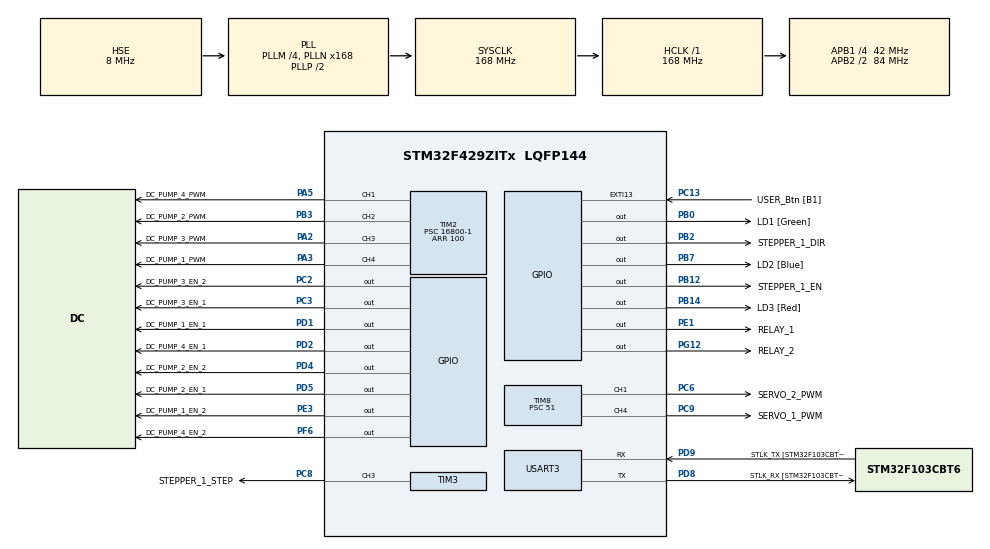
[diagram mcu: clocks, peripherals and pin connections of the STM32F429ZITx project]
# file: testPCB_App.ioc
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Mcu.Family=STM32F4
Mcu.Name=STM32F429ZITx
Mcu.Package=LQFP144
NVIC.PriorityGroup=NVIC_PRIORITYGROUP_4
NVIC.TIM3_IRQn=true\:0\:0\:false\:false\:true\:true\:true
PA13.GPIO_Label=TMS
PA13.Mode=Serial_Wire
PA13.Signal=SYS_JTMS-SWDIO
PA14.GPIO_Label=TCK
PA14.Mode=Serial_Wire
PA14.Signal=SYS_JTCK-SWCLK
PA2.GPIO_Label=DC_PUMP_3_PWM
PA2.Signal=S_TIM2_CH3
PA3.GPIO_Label=DC_PUMP_1_PWM
PA3.Signal=S_TIM2_CH4
PA5.GPIO_Label=DC_PUMP_4_PWM
PA5.Signal=S_TIM2_CH1_ETR
PB0.GPIO_Label=LD1 [Green]
PB0.Signal=GPIO_Output
PB12.GPIO_Label=STEPPER_1_EN
PB12.Signal=GPIO_Output
PB14.GPIO_Label=LD3 [Red]
PB14.Signal=GPIO_Output
PB2/BOOT1.GPIO_Label=STEPPER_1_DIR
PB2/BOOT1.Signal=GPIO_Output
PB3.GPIO_Label=DC_PUMP_2_PWM
PB3.Signal=S_TIM2_CH2
PB7.GPIO_Label=LD2 [Blue]
PB7.Signal=GPIO_Output
PC13.GPIO_Label=USER_Btn [B1]
PC13.Signal=GPXTI13
PC14/OSC32_IN.Mode=LSE-External-Oscillator
PC14/OSC32_IN.Signal=RCC_OSC32_IN
PC15/OSC32_OUT.Mode=LSE-External-Oscillator
PC15/OSC32_OUT.Signal=RCC_OSC32_OUT
PC2.GPIO_Label=DC_PUMP_3_EN_2
PC2.Signal=GPIO_Output
PC3.GPIO_Label=DC_PUMP_3_EN_1
PC3.Signal=GPIO_Output
PC6.GPIO_Label=SERVO_2_PWM
PC6.Signal=S_TIM8_CH1
PC8.GPIO_Label=STEPPER_1_STEP
PC8.Signal=S_TIM3_CH3
PC9.GPIO_Label=SERVO_1_PWM
PC9.Signal=S_TIM8_CH4
PD1.GPIO_Label=DC_PUMP_1_EN_1
PD1.Signal=GPIO_Output
PD2.GPIO_Label=DC_PUMP_4_EN_1
PD2.Signal=GPIO_Output
PD4.GPIO_Label=DC_PUMP_2_EN_2
PD4.Signal=GPIO_Output
PD5.GPIO_Label=DC_PUMP_2_EN_1
PD5.Signal=GPIO_Output
PD8.GPIO_Label=STLK_RX [STM32F103CBT6_PA3]
PD8.Mode=Asynchronous
PD8.Signal=USART3_TX
PD9.GPIO_Label=STLK_TX [STM32F103CBT6_PA2]
PD9.Mode=Asynchronous
PD9.Signal=USART3_RX
PE1.GPIO_Label=RELAY_1
PE1.Signal=GPIO_Output
PE3.GPIO_Label=DC_PUMP_1_EN_2
PE3.Signal=GPIO_Output
PF6.GPIO_Label=DC_PUMP_4_EN_2
PF6.Signal=GPIO_Output
PG12.GPIO_Label=RELAY_2
PG12.Signal=GPIO_Output
PH0/OSC_IN.GPIO_Label=MCO [STM32F103CBT6_PA8]
PH0/OSC_IN.Mode=HSE-External-Clock-Source
PH0/OSC_IN.Signal=RCC_OSC_IN
PH1/OSC_OUT.Mode=HSE-External-Clock-Source
PH1/OSC_OUT.Signal=RCC_OSC_OUT
ProjectManager.HeapSize=0x200
ProjectManager.StackSize=0x400
ProjectManager.TargetToolchain=STM32CubeIDE
RCC.48MHZClocksFreq_Value=48000000
RCC.AHBFreq_Value=168000000
RCC.APB1CLKDivider=RCC_HCLK_DIV4
RCC.APB1Freq_Value=42000000
RCC.APB1TimFreq_Value=84000000
RCC.APB2CLKDivider=RCC_HCLK_DIV2
RCC.APB2Freq_Value=84000000
RCC.APB2TimCLKDivider=2
RCC.APB2TimFreq_Value=168000000
RCC.CortexFreq_Value=168000000
RCC.HCLKFreq_Value=168000000
RCC.HSE_VALUE=8000000
RCC.HSI_VALUE=16000000
RCC.PLLM=4
RCC.PLLMUL=RCC_PLL_MUL9
RCC.PLLN=168
RCC.PLLQ=7
RCC.PLLSourceVirtual=RCC_PLLSOURCE_HSE
RCC.PRESCALERUSB=RCC_USBCLKSOURCE_PLL_DIV1_5
RCC.SYSCLKFreq_VALUE=168000000
RCC.SYSCLKSource=RCC_SYSCLKSOURCE_PLLCLK
RCC.SYSCLKSourceVirtual=RCC_SYSCLKSOURCE_PLLCLK
RCC.USBFreq_Value=48000000
RCC.VCOOutputFreq_Value=336000000
SH.S_TIM2_CH1_ETR.0=TIM2_CH1,PWM Generation1 CH1
SH.S_TIM2_CH2.0=TIM2_CH2,PWM Generation2 CH2
SH.S_TIM2_CH3.0=TIM2_CH3,PWM Generation3 CH3
SH.S_TIM2_CH4.0=TIM2_CH4,PWM Generation4 CH4
SH.S_TIM3_CH3.0=TIM3_CH3,PWM Generation3 CH3
SH.S_TIM8_CH1.0=TIM8_CH1,PWM Generation1 CH1
SH.S_TIM8_CH4.0=TIM8_CH4,PWM Generation4 CH4
TIM2.Channel-PWM\ Generation1\ CH1=TIM_CHANNEL_1
TIM2.Channel-PWM\ Generation2\ CH2=TIM_CHANNEL_2
TIM2.Channel-PWM\ Generation3\ CH3=TIM_CHANNEL_3
TIM2.Channel-PWM\ Generation4\ CH4=TIM_CHANNEL_4
TIM2.Period=100
TIM2.Prescaler=16800-1
TIM3.Channel-PWM\ Generation3\ CH3=TIM_CHANNEL_3
TIM3.Period=255
TIM3.Prescaler=325
TIM3.Pulse-PWM\ Generation3\ CH3=128
TIM8.Channel-PWM\ Generation1\ CH1=TIM_CHANNEL_1
TIM8.Channel-PWM\ Generation4\ CH4=TIM_CHANNEL_4
TIM8.Period=64614
TIM8.Prescaler=51
TIM8.Pulse-PWM\ Generation1\ CH1=32307
TIM8.Pulse-PWM\ Generation4\ CH4=32307
USART3.VirtualMode=VM_ASYNC
VP_TIM2_VS_ClockSourceINT.Mode=Internal
VP_TIM3_VS_ClockSourceINT.Mode=Internal
VP_TIM8_VS_ClockSourceINT.Mode=Internal
board=NUCLEO-F429ZI

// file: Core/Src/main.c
/* USER CODE BEGIN Header */
/**
  ******************************************************************************
  * @file           : main.c
  * @brief          : Main program body
  ******************************************************************************
  * @attention
  *
  * Copyright (c) 2021 STMicroelectronics.
  * All rights reserved.
  *
  * This software is licensed under terms that can be found in the LICENSE file
  * in the root directory of this software component.
  * If no LICENSE file comes with this software, it is provided AS-IS.
  *
  ******************************************************************************
  */
/* USER CODE END Header */
#include "main.h"

TIM_HandleTypeDef htim2;
TIM_HandleTypeDef htim3;
TIM_HandleTypeDef htim8;

UART_HandleTypeDef huart3;

/* USER CODE BEGIN PV */
volatile int step=0,durum=0,sayac=0;

/* USER CODE END PV */

void SystemClock_Config(void);
static void MX_GPIO_Init(void);
static void MX_USART3_UART_Init(void);
static void MX_TIM2_Init(void);
static void MX_TIM8_Init(void);
static void MX_TIM3_Init(void);

/* USER CODE BEGIN 0 */

void HAL_TIM_PWM_PulseFinishedCallback(TIM_HandleTypeDef *htim)
{
	if(htim->Instance == TIM3) // eger kesme kaynagi timer1 den gelmis ise
	{
		sayac++;								// her kesmede sayaci arttir.
		if(sayac == step)				// eger sayac istenilen adim sayisi kadar artmis ise
		{
			HAL_TIM_PWM_Stop_IT(&htim3, TIM_CHANNEL_3);	// PWM'i durdur.
			sayac=0;																// bir sonraki komutta sayac sifirdan baslamali
			durum=0;																// step fonksiyonunun içindeki while döngüsünden çikilmasi için
																							// durum degiskeni sifirlandi.
		}
	}
}

void Step(int adim, int yon)  // step motor fonksiyonu. iki adet parametre alicak. Pals ve yön parametreleri
{
	step=adim;
	if(yon==0)
	{
		HAL_GPIO_WritePin(STEPPER_1_DIR_GPIO_Port, STEPPER_1_DIR_Pin, GPIO_PIN_RESET);	// eger yön bilgisi sifir ise DIR pini lojik 0 yapildi.
	}
	else
	{
		HAL_GPIO_WritePin(STEPPER_1_DIR_GPIO_Port, STEPPER_1_DIR_Pin, GPIO_PIN_SET);	// sifirdan farkli bir deger ise DIR pini lojik 1 yapildi.
	}
	durum=1;
	HAL_TIM_PWM_Start_IT(&htim3, TIM_CHANNEL_3);	// PWM'i baslatildi.
	while(1) // step motorun istenilen konuma gitmesi için belli bir süre gececek
	{						//	bu süre boyunca programin tekrar step fonksiyonunun içine girmesini önlemek için sonsuz döngü olusturuldu.
		if(durum==0)					// step motor istenilen konuma gittiginde durum degiskeni sifir olacak ve döngüden çikilacak.
			break;
		HAL_Delay(1);
	}

}
/* USER CODE END 0 */

int main(void)
{

  /* MCU Configuration--------------------------------------------------------*/

  /* Reset of all peripherals, Initializes the Flash interface and the Systick. */
  HAL_Init();

  /* Configure the system clock */
  SystemClock_Config();

  /* Initialize all configured peripherals */
  MX_GPIO_Init();
  MX_USART3_UART_Init();
  MX_TIM2_Init();
  MX_TIM8_Init();
  MX_TIM3_Init();
  /* USER CODE BEGIN 2 */

  //DC PUMP PWM TIMER
  HAL_TIM_Base_Start(&htim2);
  HAL_TIM_PWM_Start(&htim2, TIM_CHANNEL_1);
  HAL_TIM_PWM_Start(&htim2, TIM_CHANNEL_2);
  HAL_TIM_PWM_Start(&htim2, TIM_CHANNEL_3);
  HAL_TIM_PWM_Start(&htim2, TIM_CHANNEL_4);

  //DC_PUMP_1
  __HAL_TIM_SET_COMPARE(&htim2, TIM_CHANNEL_4, 75);
  HAL_GPIO_WritePin(DC_PUMP_1_EN_1_GPIO_Port, DC_PUMP_1_EN_1_Pin, GPIO_PIN_SET);
  HAL_GPIO_WritePin(DC_PUMP_1_EN_2_GPIO_Port, DC_PUMP_1_EN_2_Pin, GPIO_PIN_RESET);

  //DC_PUMP_2
  __HAL_TIM_SET_COMPARE(&htim2, TIM_CHANNEL_2, 75);
  HAL_GPIO_WritePin(DC_PUMP_2_EN_1_GPIO_Port, DC_PUMP_2_EN_1_Pin, GPIO_PIN_SET);
  HAL_GPIO_WritePin(DC_PUMP_2_EN_2_GPIO_Port, DC_PUMP_2_EN_2_Pin, GPIO_PIN_RESET);

  //DC_PUMP_3
  __HAL_TIM_SET_COMPARE(&htim2, TIM_CHANNEL_3, 75);
  HAL_GPIO_WritePin(DC_PUMP_3_EN_1_GPIO_Port, DC_PUMP_3_EN_1_Pin, GPIO_PIN_SET);
  HAL_GPIO_WritePin(DC_PUMP_3_EN_2_GPIO_Port, DC_PUMP_3_EN_2_Pin, GPIO_PIN_RESET);

  //DC_PUMP_4
  __HAL_TIM_SET_COMPARE(&htim2, TIM_CHANNEL_1, 75);
  HAL_GPIO_WritePin(DC_PUMP_4_EN_1_GPIO_Port, DC_PUMP_4_EN_1_Pin, GPIO_PIN_RESET);
  HAL_GPIO_WritePin(DC_PUMP_4_EN_2_GPIO_Port, DC_PUMP_4_EN_2_Pin, GPIO_PIN_SET);

  //SERVO
  HAL_TIM_Base_Start(&htim8);
  HAL_TIM_PWM_Start(&htim8, TIM_CHANNEL_1);
  HAL_TIM_PWM_Start(&htim8, TIM_CHANNEL_4);

  //STEPER
  HAL_TIM_Base_Start_IT(&htim3);
  HAL_TIM_PWM_Start_IT(&htim3, TIM_CHANNEL_3);
  HAL_GPIO_WritePin(STEPPER_1_EN_GPIO_Port, STEPPER_1_EN_Pin, GPIO_PIN_RESET);
  __HAL_TIM_SET_COMPARE(&htim3, TIM_CHANNEL_3, 128); // Duty cycle %50 olarak ayarlandi.
  HAL_Delay(100);

  /* USER CODE END 2 */

  /* Infinite loop */
  /* USER CODE BEGIN WHILE */
  while (1)
  {

	  //RELAY
	  HAL_GPIO_TogglePin(RELAY_1_GPIO_Port, RELAY_1_Pin); //legalsó feletti
	  HAL_GPIO_TogglePin(RELAY_2_GPIO_Port, RELAY_2_Pin);	//legalsó
	  HAL_Delay(2000);

	  /*
	  //SERVO
	  for (int i = 1430; i < 8061; i+= 10) {
		  HAL_Delay(1);
		  __HAL_TIM_SET_COMPARE(&htim8, TIM_CHANNEL_1, i);0
		  __HAL_TIM_SET_COMPARE(&htim8, TIM_CHANNEL_4, i);

	  }
	  for (int i = 8061; i > 1430; i-= 10) {
		  HAL_Delay(1);
		  __HAL_TIM_SET_COMPARE(&htim8, TIM_CHANNEL_1, i);
		  __HAL_TIM_SET_COMPARE(&htim8, TIM_CHANNEL_4, i);

	  }
	  */

	  	 /*
	  //STEPPER
	  Step(200, 0);
	  HAL_Delay(1000);
	  Step(400, 1);
	  HAL_Delay(1000);
	  */

    /* USER CODE END WHILE */

  }
}

void SystemClock_Config(void)
{
  RCC_OscInitTypeDef RCC_OscInitStruct = {0};
  RCC_ClkInitTypeDef RCC_ClkInitStruct = {0};

  /** Configure the main internal regulator output voltage
  */
  __HAL_RCC_PWR_CLK_ENABLE();
  __HAL_PWR_VOLTAGESCALING_CONFIG(PWR_REGULATOR_VOLTAGE_SCALE1);
  /** Initializes the RCC Oscillators according to the specified parameters
  * in the RCC_OscInitTypeDef structure.
  */
  RCC_OscInitStruct.OscillatorType = RCC_OSCILLATORTYPE_HSE;
  RCC_OscInitStruct.HSEState = RCC_HSE_BYPASS;
  RCC_OscInitStruct.PLL.PLLState = RCC_PLL_ON;
  RCC_OscInitStruct.PLL.PLLSource = RCC_PLLSOURCE_HSE;
  RCC_OscInitStruct.PLL.PLLM = 4;
  RCC_OscInitStruct.PLL.PLLN = 168;
  RCC_OscInitStruct.PLL.PLLP = RCC_PLLP_DIV2;
  RCC_OscInitStruct.PLL.PLLQ = 7;
  if (HAL_RCC_OscConfig(&RCC_OscInitStruct) != HAL_OK)
  {
    Error_Handler();
  }
  /** Initializes the CPU, AHB and APB buses clocks
  */
  RCC_ClkInitStruct.ClockType = RCC_CLOCKTYPE_HCLK|RCC_CLOCKTYPE_SYSCLK
                              |RCC_CLOCKTYPE_PCLK1|RCC_CLOCKTYPE_PCLK2;
  RCC_ClkInitStruct.SYSCLKSource = RCC_SYSCLKSOURCE_PLLCLK;
  RCC_ClkInitStruct.AHBCLKDivider = RCC_SYSCLK_DIV1;
  RCC_ClkInitStruct.APB1CLKDivider = RCC_HCLK_DIV4;
  RCC_ClkInitStruct.APB2CLKDivider = RCC_HCLK_DIV2;

  if (HAL_RCC_ClockConfig(&RCC_ClkInitStruct, FLASH_LATENCY_5) != HAL_OK)
  {
    Error_Handler();
  }
}

static void MX_TIM2_Init(void)
{

  TIM_ClockConfigTypeDef sClockSourceConfig = {0};
  TIM_MasterConfigTypeDef sMasterConfig = {0};
  TIM_OC_InitTypeDef sConfigOC = {0};

  htim2.Instance = TIM2;
  htim2.Init.Prescaler = 16800-1;
  htim2.Init.CounterMode = TIM_COUNTERMODE_UP;
  htim2.Init.Period = 100;
  htim2.Init.ClockDivision = TIM_CLOCKDIVISION_DIV1;
  htim2.Init.AutoReloadPreload = TIM_AUTORELOAD_PRELOAD_DISABLE;
  if (HAL_TIM_Base_Init(&htim2) != HAL_OK)
  {
    Error_Handler();
  }
  sClockSourceConfig.ClockSource = TIM_CLOCKSOURCE_INTERNAL;
  if (HAL_TIM_ConfigClockSource(&htim2, &sClockSourceConfig) != HAL_OK)
  {
    Error_Handler();
  }
  if (HAL_TIM_PWM_Init(&htim2) != HAL_OK)
  {
    Error_Handler();
  }
  sMasterConfig.MasterOutputTrigger = TIM_TRGO_RESET;
  sMasterConfig.MasterSlaveMode = TIM_MASTERSLAVEMODE_DISABLE;
  if (HAL_TIMEx_MasterConfigSynchronization(&htim2, &sMasterConfig) != HAL_OK)
  {
    Error_Handler();
  }
  sConfigOC.OCMode = TIM_OCMODE_PWM1;
  sConfigOC.Pulse = 0;
  sConfigOC.OCPolarity = TIM_OCPOLARITY_HIGH;
  sConfigOC.OCFastMode = TIM_OCFAST_DISABLE;
  if (HAL_TIM_PWM_ConfigChannel(&htim2, &sConfigOC, TIM_CHANNEL_1) != HAL_OK)
  {
    Error_Handler();
  }
  if (HAL_TIM_PWM_ConfigChannel(&htim2, &sConfigOC, TIM_CHANNEL_2) != HAL_OK)
  {
    Error_Handler();
  }
  if (HAL_TIM_PWM_ConfigChannel(&htim2, &sConfigOC, TIM_CHANNEL_3) != HAL_OK)
  {
    Error_Handler();
  }
  if (HAL_TIM_PWM_ConfigChannel(&htim2, &sConfigOC, TIM_CHANNEL_4) != HAL_OK)
  {
    Error_Handler();
  }
  HAL_TIM_MspPostInit(&htim2);

}

static void MX_TIM3_Init(void)
{

  TIM_ClockConfigTypeDef sClockSourceConfig = {0};
  TIM_MasterConfigTypeDef sMasterConfig = {0};
  TIM_OC_InitTypeDef sConfigOC = {0};

  htim3.Instance = TIM3;
  htim3.Init.Prescaler = 325;
  htim3.Init.CounterMode = TIM_COUNTERMODE_UP;
  htim3.Init.Period = 255;
  htim3.Init.ClockDivision = TIM_CLOCKDIVISION_DIV1;
  htim3.Init.AutoReloadPreload = TIM_AUTORELOAD_PRELOAD_DISABLE;
  if (HAL_TIM_Base_Init(&htim3) != HAL_OK)
  {
    Error_Handler();
  }
  sClockSourceConfig.ClockSource = TIM_CLOCKSOURCE_INTERNAL;
  if (HAL_TIM_ConfigClockSource(&htim3, &sClockSourceConfig) != HAL_OK)
  {
    Error_Handler();
  }
  if (HAL_TIM_PWM_Init(&htim3) != HAL_OK)
  {
    Error_Handler();
  }
  sMasterConfig.MasterOutputTrigger = TIM_TRGO_RESET;
  sMasterConfig.MasterSlaveMode = TIM_MASTERSLAVEMODE_DISABLE;
  if (HAL_TIMEx_MasterConfigSynchronization(&htim3, &sMasterConfig) != HAL_OK)
  {
    Error_Handler();
  }
  sConfigOC.OCMode = TIM_OCMODE_PWM1;
  sConfigOC.Pulse = 128;
  sConfigOC.OCPolarity = TIM_OCPOLARITY_HIGH;
  sConfigOC.OCFastMode = TIM_OCFAST_DISABLE;
  if (HAL_TIM_PWM_ConfigChannel(&htim3, &sConfigOC, TIM_CHANNEL_3) != HAL_OK)
  {
    Error_Handler();
  }
  HAL_TIM_MspPostInit(&htim3);

}

static void MX_TIM8_Init(void)
{

  TIM_ClockConfigTypeDef sClockSourceConfig = {0};
  TIM_MasterConfigTypeDef sMasterConfig = {0};
  TIM_OC_InitTypeDef sConfigOC = {0};
  TIM_BreakDeadTimeConfigTypeDef sBreakDeadTimeConfig = {0};

  htim8.Instance = TIM8;
  htim8.Init.Prescaler = 51;
  htim8.Init.CounterMode = TIM_COUNTERMODE_UP;
  htim8.Init.Period = 64614;
  htim8.Init.ClockDivision = TIM_CLOCKDIVISION_DIV1;
  htim8.Init.RepetitionCounter = 0;
  htim8.Init.AutoReloadPreload = TIM_AUTORELOAD_PRELOAD_DISABLE;
  if (HAL_TIM_Base_Init(&htim8) != HAL_OK)
  {
    Error_Handler();
  }
  sClockSourceConfig.ClockSource = TIM_CLOCKSOURCE_INTERNAL;
  if (HAL_TIM_ConfigClockSource(&htim8, &sClockSourceConfig) != HAL_OK)
  {
    Error_Handler();
  }
  if (HAL_TIM_PWM_Init(&htim8) != HAL_OK)
  {
    Error_Handler();
  }
  sMasterConfig.MasterOutputTrigger = TIM_TRGO_RESET;
  sMasterConfig.MasterSlaveMode = TIM_MASTERSLAVEMODE_DISABLE;
  if (HAL_TIMEx_MasterConfigSynchronization(&htim8, &sMasterConfig) != HAL_OK)
  {
    Error_Handler();
  }
  sConfigOC.OCMode = TIM_OCMODE_PWM1;
  sConfigOC.Pulse = 32307;
  sConfigOC.OCPolarity = TIM_OCPOLARITY_HIGH;
  sConfigOC.OCNPolarity = TIM_OCNPOLARITY_HIGH;
  sConfigOC.OCFastMode = TIM_OCFAST_DISABLE;
  sConfigOC.OCIdleState = TIM_OCIDLESTATE_RESET;
  sConfigOC.OCNIdleState = TIM_OCNIDLESTATE_RESET;
  if (HAL_TIM_PWM_ConfigChannel(&htim8, &sConfigOC, TIM_CHANNEL_1) != HAL_OK)
  {
    Error_Handler();
  }
  if (HAL_TIM_PWM_ConfigChannel(&htim8, &sConfigOC, TIM_CHANNEL_4) != HAL_OK)
  {
    Error_Handler();
  }
  sBreakDeadTimeConfig.OffStateRunMode = TIM_OSSR_DISABLE;
  sBreakDeadTimeConfig.OffStateIDLEMode = TIM_OSSI_DISABLE;
  sBreakDeadTimeConfig.LockLevel = TIM_LOCKLEVEL_OFF;
  sBreakDeadTimeConfig.DeadTime = 0;
  sBreakDeadTimeConfig.BreakState = TIM_BREAK_DISABLE;
  sBreakDeadTimeConfig.BreakPolarity = TIM_BREAKPOLARITY_HIGH;
  sBreakDeadTimeConfig.AutomaticOutput = TIM_AUTOMATICOUTPUT_DISABLE;
  if (HAL_TIMEx_ConfigBreakDeadTime(&htim8, &sBreakDeadTimeConfig) != HAL_OK)
  {
    Error_Handler();
  }
  HAL_TIM_MspPostInit(&htim8);

}

static void MX_USART3_UART_Init(void)
{

  huart3.Instance = USART3;
  huart3.Init.BaudRate = 115200;
  huart3.Init.WordLength = UART_WORDLENGTH_8B;
  huart3.Init.StopBits = UART_STOPBITS_1;
  huart3.Init.Parity = UART_PARITY_NONE;
  huart3.Init.Mode = UART_MODE_TX_RX;
  huart3.Init.HwFlowCtl = UART_HWCONTROL_NONE;
  huart3.Init.OverSampling = UART_OVERSAMPLING_16;
  if (HAL_UART_Init(&huart3) != HAL_OK)
  {
    Error_Handler();
  }

}

static void MX_GPIO_Init(void)
{
  GPIO_InitTypeDef GPIO_InitStruct = {0};

  /* GPIO Ports Clock Enable */
  __HAL_RCC_GPIOE_CLK_ENABLE();
  __HAL_RCC_GPIOC_CLK_ENABLE();
  __HAL_RCC_GPIOF_CLK_ENABLE();
  __HAL_RCC_GPIOH_CLK_ENABLE();
  __HAL_RCC_GPIOA_CLK_ENABLE();
  __HAL_RCC_GPIOB_CLK_ENABLE();
  __HAL_RCC_GPIOD_CLK_ENABLE();
  __HAL_RCC_GPIOG_CLK_ENABLE();

  /*Configure GPIO pin Output Level */
  HAL_GPIO_WritePin(GPIOE, DC_PUMP_1_EN_2_Pin|RELAY_1_Pin, GPIO_PIN_RESET);

  /*Configure GPIO pin Output Level */
  HAL_GPIO_WritePin(DC_PUMP_4_EN_2_GPIO_Port, DC_PUMP_4_EN_2_Pin, GPIO_PIN_RESET);

  /*Configure GPIO pin Output Level */
  HAL_GPIO_WritePin(GPIOC, DC_PUMP_3_EN_2_Pin|DC_PUMP_3_EN_1_Pin, GPIO_PIN_RESET);

  /*Configure GPIO pin Output Level */
  HAL_GPIO_WritePin(GPIOB, LD1_Pin|STEPPER_1_DIR_Pin|STEPPER_1_EN_Pin|LD3_Pin
                          |LD2_Pin, GPIO_PIN_RESET);

  /*Configure GPIO pin Output Level */
  HAL_GPIO_WritePin(GPIOD, DC_PUMP_1_EN_1_Pin|DC_PUMP_4_EN_1_Pin|DC_PUMP_2_EN_2_Pin|DC_PUMP_2_EN_1_Pin, GPIO_PIN_RESET);

  /*Configure GPIO pin Output Level */
  HAL_GPIO_WritePin(RELAY_2_GPIO_Port, RELAY_2_Pin, GPIO_PIN_RESET);

  /*Configure GPIO pins : DC_PUMP_1_EN_2_Pin RELAY_1_Pin */
  GPIO_InitStruct.Pin = DC_PUMP_1_EN_2_Pin|RELAY_1_Pin;
  GPIO_InitStruct.Mode = GPIO_MODE_OUTPUT_PP;
  GPIO_InitStruct.Pull = GPIO_NOPULL;
  GPIO_InitStruct.Speed = GPIO_SPEED_FREQ_LOW;
  HAL_GPIO_Init(GPIOE, &GPIO_InitStruct);

  /*Configure GPIO pin : USER_Btn_Pin */
  GPIO_InitStruct.Pin = USER_Btn_Pin;
  GPIO_InitStruct.Mode = GPIO_MODE_IT_RISING;
  GPIO_InitStruct.Pull = GPIO_NOPULL;
  HAL_GPIO_Init(USER_Btn_GPIO_Port, &GPIO_InitStruct);

  /*Configure GPIO pin : DC_PUMP_4_EN_2_Pin */
  GPIO_InitStruct.Pin = DC_PUMP_4_EN_2_Pin;
  GPIO_InitStruct.Mode = GPIO_MODE_OUTPUT_PP;
  GPIO_InitStruct.Pull = GPIO_NOPULL;
  GPIO_InitStruct.Speed = GPIO_SPEED_FREQ_LOW;
  HAL_GPIO_Init(DC_PUMP_4_EN_2_GPIO_Port, &GPIO_InitStruct);

  /*Configure GPIO pins : DC_PUMP_3_EN_2_Pin DC_PUMP_3_EN_1_Pin */
  GPIO_InitStruct.Pin = DC_PUMP_3_EN_2_Pin|DC_PUMP_3_EN_1_Pin;
  GPIO_InitStruct.Mode = GPIO_MODE_OUTPUT_PP;
  GPIO_InitStruct.Pull = GPIO_NOPULL;
  GPIO_InitStruct.Speed = GPIO_SPEED_FREQ_LOW;
  HAL_GPIO_Init(GPIOC, &GPIO_InitStruct);

  /*Configure GPIO pins : LD1_Pin STEPPER_1_DIR_Pin STEPPER_1_EN_Pin LD3_Pin
                           LD2_Pin */
  GPIO_InitStruct.Pin = LD1_Pin|STEPPER_1_DIR_Pin|STEPPER_1_EN_Pin|LD3_Pin
                          |LD2_Pin;
  GPIO_InitStruct.Mode = GPIO_MODE_OUTPUT_PP;
  GPIO_InitStruct.Pull = GPIO_NOPULL;
  GPIO_InitStruct.Speed = GPIO_SPEED_FREQ_LOW;
  HAL_GPIO_Init(GPIOB, &GPIO_InitStruct);

  /*Configure GPIO pins : DC_PUMP_1_EN_1_Pin DC_PUMP_4_EN_1_Pin DC_PUMP_2_EN_2_Pin DC_PUMP_2_EN_1_Pin */
  GPIO_InitStruct.Pin = DC_PUMP_1_EN_1_Pin|DC_PUMP_4_EN_1_Pin|DC_PUMP_2_EN_2_Pin|DC_PUMP_2_EN_1_Pin;
  GPIO_InitStruct.Mode = GPIO_MODE_OUTPUT_PP;
  GPIO_InitStruct.Pull = GPIO_NOPULL;
  GPIO_InitStruct.Speed = GPIO_SPEED_FREQ_LOW;
  HAL_GPIO_Init(GPIOD, &GPIO_InitStruct);

  /*Configure GPIO pin : RELAY_2_Pin */
  GPIO_InitStruct.Pin = RELAY_2_Pin;
  GPIO_InitStruct.Mode = GPIO_MODE_OUTPUT_PP;
  GPIO_InitStruct.Pull = GPIO_NOPULL;
  GPIO_InitStruct.Speed = GPIO_SPEED_FREQ_LOW;
  HAL_GPIO_Init(RELAY_2_GPIO_Port, &GPIO_InitStruct);

}

void Error_Handler(void)
{
  __disable_irq();
  while (1)
  {
  }
}
